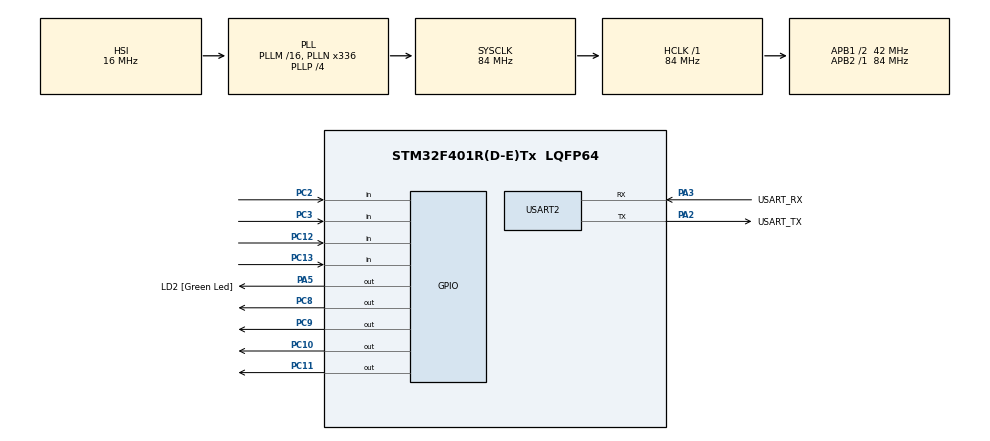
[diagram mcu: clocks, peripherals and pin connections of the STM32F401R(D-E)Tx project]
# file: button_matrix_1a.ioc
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Mcu.Family=STM32F4
Mcu.Name=STM32F401R(D-E)Tx
Mcu.Package=LQFP64
NVIC.PriorityGroup=NVIC_PRIORITYGROUP_0
PA13.GPIO_Label=TMS
PA13.Mode=Serial_Wire
PA13.Signal=SYS_JTMS-SWDIO
PA14.GPIO_Label=TCK
PA14.Mode=Serial_Wire
PA14.Signal=SYS_JTCK-SWCLK
PA2.GPIO_Label=USART_TX
PA2.GPIO_Mode=GPIO_MODE_AF_PP
PA2.GPIO_PuPd=GPIO_NOPULL
PA2.GPIO_Speed=GPIO_SPEED_FREQ_LOW
PA2.Mode=Asynchronous
PA2.Signal=USART2_TX
PA3.GPIO_Label=USART_RX
PA3.GPIO_Mode=GPIO_MODE_AF_PP
PA3.GPIO_PuPd=GPIO_NOPULL
PA3.GPIO_Speed=GPIO_SPEED_FREQ_LOW
PA3.Mode=Asynchronous
PA3.Signal=USART2_RX
PA5.GPIO_Label=LD2 [Green Led]
PA5.GPIO_Mode=GPIO_MODE_OUTPUT_PP
PA5.GPIO_PuPd=GPIO_NOPULL
PA5.GPIO_Speed=GPIO_SPEED_FREQ_LOW
PA5.Signal=GPIO_Output
PB3.GPIO_Label=SWO
PB3.Signal=SYS_JTDO-SWO
PC10.Signal=GPIO_Output
PC11.Signal=GPIO_Output
PC12.Signal=GPIO_Input
PC13-ANTI_TAMP.Signal=GPIO_Input
PC14-OSC32_IN.Mode=LSE-External-Oscillator
PC14-OSC32_IN.Signal=RCC_OSC32_IN
PC15-OSC32_OUT.Mode=LSE-External-Oscillator
PC15-OSC32_OUT.Signal=RCC_OSC32_OUT
PC2.Signal=GPIO_Input
PC3.Signal=GPIO_Input
PC8.Signal=GPIO_Output
PC9.Signal=GPIO_Output
PH0\ -\ OSC_IN.Mode=HSE-External-Clock-Source
PH0\ -\ OSC_IN.Signal=RCC_OSC_IN
PH1\ -\ OSC_OUT.Mode=HSE-External-Clock-Source
PH1\ -\ OSC_OUT.Signal=RCC_OSC_OUT
ProjectManager.HeapSize=0x200
ProjectManager.StackSize=0x400
ProjectManager.TargetToolchain=STM32CubeIDE
RCC.48MHZClocksFreq_Value=48000000
RCC.AHBFreq_Value=84000000
RCC.APB1CLKDivider=RCC_HCLK_DIV2
RCC.APB1Freq_Value=42000000
RCC.APB1TimFreq_Value=84000000
RCC.APB2Freq_Value=84000000
RCC.APB2TimFreq_Value=84000000
RCC.CortexFreq_Value=84000000
RCC.HCLKFreq_Value=84000000
RCC.HSE_VALUE=8000000
RCC.HSI_VALUE=16000000
RCC.PLLN=336
RCC.PLLP=RCC_PLLP_DIV4
RCC.PLLQ=7
RCC.SYSCLKFreq_VALUE=84000000
RCC.SYSCLKSource=RCC_SYSCLKSOURCE_PLLCLK
RCC.VCOOutputFreq_Value=336000000
USART2.VirtualMode=VM_ASYNC
board=NUCLEO-F401RE

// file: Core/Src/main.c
/* USER CODE BEGIN Header */
/**
  ******************************************************************************
  * @file           : main.c
  * @brief          : Main program body
  ******************************************************************************
  * @attention
  *
  * Copyright (c) 2022 STMicroelectronics.
  * All rights reserved.
  *
  * This software is licensed under terms that can be found in the LICENSE file
  * in the root directory of this software component.
  * If no LICENSE file comes with this software, it is provided AS-IS.
  *
  ******************************************************************************
  */
/* USER CODE END Header */
#include "main.h"

/* USER CODE BEGIN Includes */
#include <string.h>
#include <stdio.h>
/* USER CODE END Includes */

UART_HandleTypeDef huart2;

/* USER CODE BEGIN PV */
uint16_t COL_PINS[4] = {GPIO_PIN_8, GPIO_PIN_9, GPIO_PIN_10, GPIO_PIN_11};
uint16_t ROW_PINS[4] = {GPIO_PIN_12, GPIO_PIN_13, GPIO_PIN_2, GPIO_PIN_3};
char characters[16] = {'0', '1', '2', '3', '4', '5', '6', '7', '8', '9', 'A', 'B', 'C', 'D', 'E', 'F'};
int pressed[16];
/* USER CODE END PV */

void SystemClock_Config(void);
static void MX_GPIO_Init(void);
static void MX_USART2_UART_Init(void);

int main(void)
{

  /* MCU Configuration--------------------------------------------------------*/

  /* Reset of all peripherals, Initializes the Flash interface and the Systick. */
  HAL_Init();

  /* Configure the system clock */
  SystemClock_Config();

  /* Initialize all configured peripherals */
  MX_GPIO_Init();
  MX_USART2_UART_Init();
  /* USER CODE BEGIN 2 */
  char string[8];
  /* USER CODE END 2 */

  /* Infinite loop */
  while (1)
  {

    /* USER CODE BEGIN 3 */
	int index;
	for(int i = 0; i < 4; i++){
		HAL_GPIO_WritePin(GPIOC, COL_PINS[i], GPIO_PIN_SET);
		HAL_Delay(50);
		for(int j = 0; j < 4; j++){
			index = 4*j + i;
			if(HAL_GPIO_ReadPin(GPIOC, ROW_PINS[j]) == GPIO_PIN_RESET){
				if(pressed[index] == 0){
					pressed[index] = 1;
					snprintf(string, 8, "%c\r\n", characters[index]);
					HAL_UART_Transmit(&huart2, string, strlen(string), 100);
				}
			}else{
				pressed[index] = 0;
			}
		}
		HAL_GPIO_WritePin(GPIOC, COL_PINS[i], GPIO_PIN_RESET);
	}
  }
  /* USER CODE END 3 */
}

void SystemClock_Config(void)
{
  RCC_OscInitTypeDef RCC_OscInitStruct = {0};
  RCC_ClkInitTypeDef RCC_ClkInitStruct = {0};

  /** Configure the main internal regulator output voltage
  */
  __HAL_RCC_PWR_CLK_ENABLE();
  __HAL_PWR_VOLTAGESCALING_CONFIG(PWR_REGULATOR_VOLTAGE_SCALE2);

  /** Initializes the RCC Oscillators according to the specified parameters
  * in the RCC_OscInitTypeDef structure.
  */
  RCC_OscInitStruct.OscillatorType = RCC_OSCILLATORTYPE_HSI;
  RCC_OscInitStruct.HSIState = RCC_HSI_ON;
  RCC_OscInitStruct.HSICalibrationValue = RCC_HSICALIBRATION_DEFAULT;
  RCC_OscInitStruct.PLL.PLLState = RCC_PLL_ON;
  RCC_OscInitStruct.PLL.PLLSource = RCC_PLLSOURCE_HSI;
  RCC_OscInitStruct.PLL.PLLM = 16;
  RCC_OscInitStruct.PLL.PLLN = 336;
  RCC_OscInitStruct.PLL.PLLP = RCC_PLLP_DIV4;
  RCC_OscInitStruct.PLL.PLLQ = 7;
  if (HAL_RCC_OscConfig(&RCC_OscInitStruct) != HAL_OK)
  {
    Error_Handler();
  }

  /** Initializes the CPU, AHB and APB buses clocks
  */
  RCC_ClkInitStruct.ClockType = RCC_CLOCKTYPE_HCLK|RCC_CLOCKTYPE_SYSCLK
                              |RCC_CLOCKTYPE_PCLK1|RCC_CLOCKTYPE_PCLK2;
  RCC_ClkInitStruct.SYSCLKSource = RCC_SYSCLKSOURCE_PLLCLK;
  RCC_ClkInitStruct.AHBCLKDivider = RCC_SYSCLK_DIV1;
  RCC_ClkInitStruct.APB1CLKDivider = RCC_HCLK_DIV2;
  RCC_ClkInitStruct.APB2CLKDivider = RCC_HCLK_DIV1;

  if (HAL_RCC_ClockConfig(&RCC_ClkInitStruct, FLASH_LATENCY_2) != HAL_OK)
  {
    Error_Handler();
  }
}

static void MX_USART2_UART_Init(void)
{

  huart2.Instance = USART2;
  huart2.Init.BaudRate = 115200;
  huart2.Init.WordLength = UART_WORDLENGTH_8B;
  huart2.Init.StopBits = UART_STOPBITS_1;
  huart2.Init.Parity = UART_PARITY_NONE;
  huart2.Init.Mode = UART_MODE_TX_RX;
  huart2.Init.HwFlowCtl = UART_HWCONTROL_NONE;
  huart2.Init.OverSampling = UART_OVERSAMPLING_16;
  if (HAL_UART_Init(&huart2) != HAL_OK)
  {
    Error_Handler();
  }

}

static void MX_GPIO_Init(void)
{
  GPIO_InitTypeDef GPIO_InitStruct = {0};

  /* GPIO Ports Clock Enable */
  __HAL_RCC_GPIOC_CLK_ENABLE();
  __HAL_RCC_GPIOH_CLK_ENABLE();
  __HAL_RCC_GPIOA_CLK_ENABLE();
  __HAL_RCC_GPIOB_CLK_ENABLE();

  /*Configure GPIO pin Output Level */
  HAL_GPIO_WritePin(LD2_GPIO_Port, LD2_Pin, GPIO_PIN_RESET);

  /*Configure GPIO pin Output Level */
  HAL_GPIO_WritePin(GPIOC, GPIO_PIN_8|GPIO_PIN_9|GPIO_PIN_10|GPIO_PIN_11, GPIO_PIN_RESET);

  /*Configure GPIO pins : PC13 PC2 PC3 PC12 */
  GPIO_InitStruct.Pin = GPIO_PIN_13|GPIO_PIN_2|GPIO_PIN_3|GPIO_PIN_12;
  GPIO_InitStruct.Mode = GPIO_MODE_INPUT;
  GPIO_InitStruct.Pull = GPIO_NOPULL;
  HAL_GPIO_Init(GPIOC, &GPIO_InitStruct);

  /*Configure GPIO pin : LD2_Pin */
  GPIO_InitStruct.Pin = LD2_Pin;
  GPIO_InitStruct.Mode = GPIO_MODE_OUTPUT_PP;
  GPIO_InitStruct.Pull = GPIO_NOPULL;
  GPIO_InitStruct.Speed = GPIO_SPEED_FREQ_LOW;
  HAL_GPIO_Init(LD2_GPIO_Port, &GPIO_InitStruct);

  /*Configure GPIO pins : PC8 PC9 PC10 PC11 */
  GPIO_InitStruct.Pin = GPIO_PIN_8|GPIO_PIN_9|GPIO_PIN_10|GPIO_PIN_11;
  GPIO_InitStruct.Mode = GPIO_MODE_OUTPUT_PP;
  GPIO_InitStruct.Pull = GPIO_NOPULL;
  GPIO_InitStruct.Speed = GPIO_SPEED_FREQ_LOW;
  HAL_GPIO_Init(GPIOC, &GPIO_InitStruct);

}

void Error_Handler(void)
{
  __disable_irq();
  while (1)
  {
  }
}
